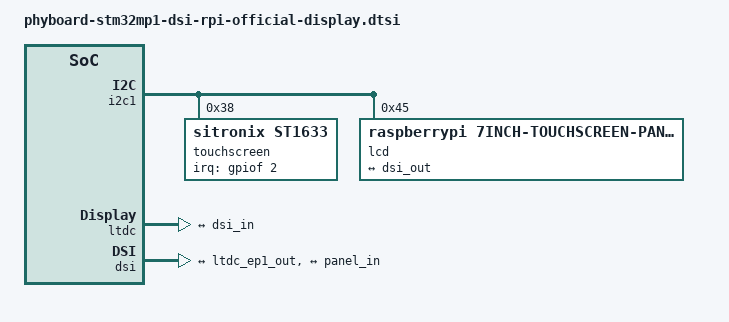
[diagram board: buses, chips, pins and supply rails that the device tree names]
// SPDX-License-Identifier: (GPL-2.0+ OR BSD-3-Clause)
/*
 * Copyright (C) PHYTEC GmbH 2019 - All Rights Reserved
 * Author: Dom VOVARD <dom.vovard@linrt.com>.
 */


&i2c1 {
        status = "okay";

        touchscreen@38 {
                compatible = "sitronix,st1633";
                reg = <0x38>;
                interrupts = <2 2>;
                interrupt-parent = <&gpiof>;
                interrupt-controller;
                status = "okay";
        };

	lcd@45 {
		compatible = "raspberrypi,7inch-touchscreen-panel";
		reg = <0x45>;
		status = "okay";

		port {
			panel_in: endpoint {
				remote-endpoint = <&dsi_out>;
			};
		};
	};
};

&ltdc {
        dma-ranges;
        status = "okay";

        port {
                #address-cells = <1>;
                #size-cells = <0>;

                ltdc_ep1_out: endpoint@1 {
                        reg = <1>;
                        remote-endpoint = <&dsi_in>;
                };
        };
};

&dsi {
        #address-cells = <1>;
        #size-cells = <0>;
        status = "okay";

        ports {
                #address-cells = <1>;
                #size-cells = <0>;

                port@0 {
                        reg = <0>;
                        dsi_in: endpoint {
                                remote-endpoint = <&ltdc_ep1_out>;
                        };
                };

                port@1 {
                        reg = <1>;
                        dsi_out: endpoint {
                                remote-endpoint = <&panel_in>;
                        };
                };
        };
};
